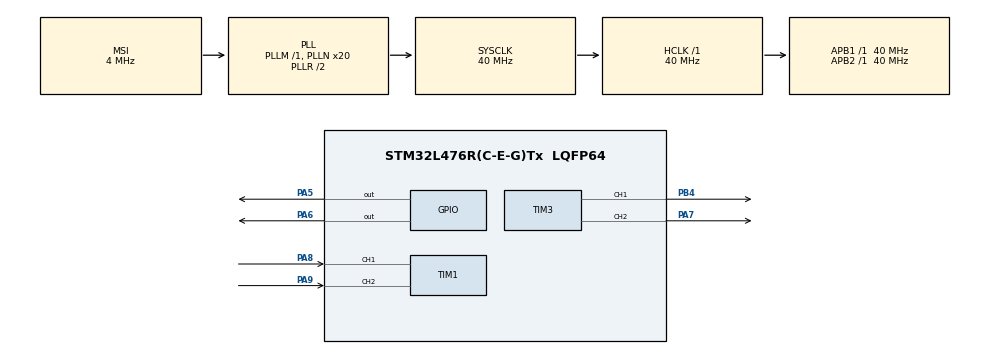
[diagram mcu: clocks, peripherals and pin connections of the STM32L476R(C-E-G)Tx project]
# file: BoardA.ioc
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FREERTOS.Tasks01=defaultTask,24,128,StartDefaultTask,Default,NULL,Dynamic,NULL,NULL
Mcu.Family=STM32L4
Mcu.Name=STM32L476R(C-E-G)Tx
Mcu.Package=LQFP64
NVIC.PriorityGroup=NVIC_PRIORITYGROUP_4
PA13\ (JTMS-SWDIO).Mode=Trace_Asynchronous_SW
PA13\ (JTMS-SWDIO).Signal=SYS_JTMS-SWDIO
PA14\ (JTCK-SWCLK).Mode=Trace_Asynchronous_SW
PA14\ (JTCK-SWCLK).Signal=SYS_JTCK-SWCLK
PA5.Signal=GPIO_Output
PA6.Signal=GPIO_Output
PA7.Signal=S_TIM3_CH2
PA8.Signal=S_TIM1_CH1
PA9.Signal=S_TIM1_CH2
PB3\ (JTDO-TRACESWO).Mode=Trace_Asynchronous_SW
PB3\ (JTDO-TRACESWO).Signal=SYS_JTDO-SWO
PB4\ (NJTRST).Signal=S_TIM3_CH1
PH0-OSC_IN\ (PH0).Mode=HSE-External-Oscillator
PH0-OSC_IN\ (PH0).Signal=RCC_OSC_IN
PH1-OSC_OUT\ (PH1).Mode=HSE-External-Oscillator
PH1-OSC_OUT\ (PH1).Signal=RCC_OSC_OUT
ProjectManager.HeapSize=0x200
ProjectManager.StackSize=0x400
ProjectManager.TargetToolchain=STM32CubeIDE
RCC.AHBFreq_Value=40000000
RCC.APB1Freq_Value=40000000
RCC.APB1TimFreq_Value=40000000
RCC.APB2Freq_Value=40000000
RCC.APB2TimFreq_Value=40000000
RCC.CortexFreq_Value=40000000
RCC.HCLKFreq_Value=40000000
RCC.HSE_VALUE=8000000
RCC.HSI_VALUE=16000000
RCC.LSE_VALUE=32768
RCC.MSI_VALUE=4000000
RCC.PLLN=20
RCC.SYSCLKFreq_VALUE=40000000
RCC.SYSCLKSource=RCC_SYSCLKSOURCE_PLLCLK
RCC.VCOOutputFreq_Value=80000000
SH.S_TIM1_CH1.0=TIM1_CH1,Encoder_Interface
SH.S_TIM1_CH2.0=TIM1_CH2,Encoder_Interface
SH.S_TIM3_CH1.0=TIM3_CH1,PWM Generation1 CH1
SH.S_TIM3_CH2.0=TIM3_CH2,PWM Generation2 CH2
TIM1.EncoderMode=TIM_ENCODERMODE_TI12
TIM3.Channel-PWM\ Generation1\ CH1=TIM_CHANNEL_1
TIM3.Channel-PWM\ Generation2\ CH2=TIM_CHANNEL_2
VP_FREERTOS_VS_CMSIS_V2.Mode=CMSIS_V2
board=custom

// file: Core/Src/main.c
/* USER CODE BEGIN Header */
/**
  ******************************************************************************
  * @file           : main.c
  * @brief          : Main program body
  ******************************************************************************
  * @attention
  *
  * Copyright (c) 2026 STMicroelectronics.
  * All rights reserved.
  *
  * This software is licensed under terms that can be found in the LICENSE file
  * in the root directory of this software component.
  * If no LICENSE file comes with this software, it is provided AS-IS.
  *
  ******************************************************************************
  */
/* USER CODE END Header */
#include "main.h"
#include "cmsis_os.h"
#include "app.h"

TIM_HandleTypeDef htim1;
TIM_HandleTypeDef htim3;

/* Definitions for defaultTask */
osThreadId_t defaultTaskHandle;
const osThreadAttr_t defaultTask_attributes = {
  .name = "defaultTask",
  .stack_size = 128 * 4,
  .priority = (osPriority_t) osPriorityNormal,
};

void SystemClock_Config(void);
static void MX_GPIO_Init(void);
static void MX_TIM1_Init(void);
static void MX_TIM3_Init(void);
void StartDefaultTask(void *argument);

/* USER CODE BEGIN PFP */
uint32_t Main_GetTickMillisec(void);
/* USER CODE END PFP */

/* USER CODE BEGIN 0 */
inline uint32_t Main_GetTickMillisec(void)
{
#ifdef __RTX
  #if defined (osCMSIS) && (osCMSIS < 0x20000U)
    extern uint32_t os_time;
    return os_time;
  #else
    extern uint32_t osKernelGetTickCount();
    return osKernelGetTickCount();
  #endif
#else
  return HAL_GetTick();
#endif
}
/* USER CODE END 0 */

int main(void)
{

  /* MCU Configuration--------------------------------------------------------*/

  /* Reset of all peripherals, Initializes the Flash interface and the Systick. */
  HAL_Init();

  /* Configure the system clock */
  SystemClock_Config();

  /* Initialize all configured peripherals */
  MX_GPIO_Init();
  MX_TIM1_Init();
  MX_TIM3_Init();

  /* Init scheduler */
  osKernelInitialize();

  /* Create the thread(s) */
  /* creation of defaultTask */
  defaultTaskHandle = osThreadNew(StartDefaultTask, NULL, &defaultTask_attributes);

  /* USER CODE BEGIN RTOS_EVENTS */
  /* add events, ... */
  app_init();
  /* USER CODE END RTOS_EVENTS */

  /* Start scheduler */
  osKernelStart();

  /* We should never get here as control is now taken by the scheduler */

  /* Infinite loop */
  while (1)
  {
    /* USER CODE BEGIN 3 */
	  app_loop();
  }

  motor_turnOff();
  /* USER CODE END 3 */
}

void SystemClock_Config(void)
{
  RCC_OscInitTypeDef RCC_OscInitStruct = {0};
  RCC_ClkInitTypeDef RCC_ClkInitStruct = {0};

  /** Configure the main internal regulator output voltage
  */
  if (HAL_PWREx_ControlVoltageScaling(PWR_REGULATOR_VOLTAGE_SCALE1) != HAL_OK)
  {
    Error_Handler();
  }

  /** Initializes the RCC Oscillators according to the specified parameters
  * in the RCC_OscInitTypeDef structure.
  */
  RCC_OscInitStruct.OscillatorType = RCC_OSCILLATORTYPE_MSI;
  RCC_OscInitStruct.MSIState = RCC_MSI_ON;
  RCC_OscInitStruct.MSICalibrationValue = 0;
  RCC_OscInitStruct.MSIClockRange = RCC_MSIRANGE_6;
  RCC_OscInitStruct.PLL.PLLState = RCC_PLL_ON;
  RCC_OscInitStruct.PLL.PLLSource = RCC_PLLSOURCE_MSI;
  RCC_OscInitStruct.PLL.PLLM = 1;
  RCC_OscInitStruct.PLL.PLLN = 20;
  RCC_OscInitStruct.PLL.PLLP = RCC_PLLP_DIV7;
  RCC_OscInitStruct.PLL.PLLQ = RCC_PLLQ_DIV2;
  RCC_OscInitStruct.PLL.PLLR = RCC_PLLR_DIV2;
  if (HAL_RCC_OscConfig(&RCC_OscInitStruct) != HAL_OK)
  {
    Error_Handler();
  }

  /** Initializes the CPU, AHB and APB buses clocks
  */
  RCC_ClkInitStruct.ClockType = RCC_CLOCKTYPE_HCLK|RCC_CLOCKTYPE_SYSCLK
                              |RCC_CLOCKTYPE_PCLK1|RCC_CLOCKTYPE_PCLK2;
  RCC_ClkInitStruct.SYSCLKSource = RCC_SYSCLKSOURCE_PLLCLK;
  RCC_ClkInitStruct.AHBCLKDivider = RCC_SYSCLK_DIV1;
  RCC_ClkInitStruct.APB1CLKDivider = RCC_HCLK_DIV1;
  RCC_ClkInitStruct.APB2CLKDivider = RCC_HCLK_DIV1;

  if (HAL_RCC_ClockConfig(&RCC_ClkInitStruct, FLASH_LATENCY_2) != HAL_OK)
  {
    Error_Handler();
  }
}

static void MX_TIM1_Init(void)
{

  TIM_Encoder_InitTypeDef sConfig = {0};
  TIM_MasterConfigTypeDef sMasterConfig = {0};

  htim1.Instance = TIM1;
  htim1.Init.Prescaler = 0;
  htim1.Init.CounterMode = TIM_COUNTERMODE_UP;
  htim1.Init.Period = 65535;
  htim1.Init.ClockDivision = TIM_CLOCKDIVISION_DIV1;
  htim1.Init.RepetitionCounter = 0;
  htim1.Init.AutoReloadPreload = TIM_AUTORELOAD_PRELOAD_DISABLE;
  sConfig.EncoderMode = TIM_ENCODERMODE_TI12;
  sConfig.IC1Polarity = TIM_ICPOLARITY_RISING;
  sConfig.IC1Selection = TIM_ICSELECTION_DIRECTTI;
  sConfig.IC1Prescaler = TIM_ICPSC_DIV1;
  sConfig.IC1Filter = 0;
  sConfig.IC2Polarity = TIM_ICPOLARITY_RISING;
  sConfig.IC2Selection = TIM_ICSELECTION_DIRECTTI;
  sConfig.IC2Prescaler = TIM_ICPSC_DIV1;
  sConfig.IC2Filter = 0;
  if (HAL_TIM_Encoder_Init(&htim1, &sConfig) != HAL_OK)
  {
    Error_Handler();
  }
  sMasterConfig.MasterOutputTrigger = TIM_TRGO_RESET;
  sMasterConfig.MasterOutputTrigger2 = TIM_TRGO2_RESET;
  sMasterConfig.MasterSlaveMode = TIM_MASTERSLAVEMODE_DISABLE;
  if (HAL_TIMEx_MasterConfigSynchronization(&htim1, &sMasterConfig) != HAL_OK)
  {
    Error_Handler();
  }

}

static void MX_TIM3_Init(void)
{

  TIM_MasterConfigTypeDef sMasterConfig = {0};
  TIM_OC_InitTypeDef sConfigOC = {0};

  htim3.Instance = TIM3;
  htim3.Init.Prescaler = 0;
  htim3.Init.CounterMode = TIM_COUNTERMODE_UP;
  htim3.Init.Period = 65535;
  htim3.Init.ClockDivision = TIM_CLOCKDIVISION_DIV1;
  htim3.Init.AutoReloadPreload = TIM_AUTORELOAD_PRELOAD_DISABLE;
  if (HAL_TIM_PWM_Init(&htim3) != HAL_OK)
  {
    Error_Handler();
  }
  sMasterConfig.MasterOutputTrigger = TIM_TRGO_RESET;
  sMasterConfig.MasterSlaveMode = TIM_MASTERSLAVEMODE_DISABLE;
  if (HAL_TIMEx_MasterConfigSynchronization(&htim3, &sMasterConfig) != HAL_OK)
  {
    Error_Handler();
  }
  sConfigOC.OCMode = TIM_OCMODE_PWM1;
  sConfigOC.Pulse = 0;
  sConfigOC.OCPolarity = TIM_OCPOLARITY_HIGH;
  sConfigOC.OCFastMode = TIM_OCFAST_DISABLE;
  if (HAL_TIM_PWM_ConfigChannel(&htim3, &sConfigOC, TIM_CHANNEL_1) != HAL_OK)
  {
    Error_Handler();
  }
  if (HAL_TIM_PWM_ConfigChannel(&htim3, &sConfigOC, TIM_CHANNEL_2) != HAL_OK)
  {
    Error_Handler();
  }
  HAL_TIM_MspPostInit(&htim3);

}

static void MX_GPIO_Init(void)
{
  GPIO_InitTypeDef GPIO_InitStruct = {0};

  /* GPIO Ports Clock Enable */
  __HAL_RCC_GPIOH_CLK_ENABLE();
  __HAL_RCC_GPIOA_CLK_ENABLE();
  __HAL_RCC_GPIOB_CLK_ENABLE();

  /*Configure GPIO pin Output Level */
  HAL_GPIO_WritePin(GPIOA, GPIO_PIN_5|GPIO_PIN_6, GPIO_PIN_RESET);

  /*Configure GPIO pins : PA5 PA6 */
  GPIO_InitStruct.Pin = GPIO_PIN_5|GPIO_PIN_6;
  GPIO_InitStruct.Mode = GPIO_MODE_OUTPUT_PP;
  GPIO_InitStruct.Pull = GPIO_NOPULL;
  GPIO_InitStruct.Speed = GPIO_SPEED_FREQ_LOW;
  HAL_GPIO_Init(GPIOA, &GPIO_InitStruct);

}

void StartDefaultTask(void *argument)
{
  for(;;)
  {
    osDelay(1);
  }
}

void Error_Handler(void)
{
  __disable_irq();
  while (1)
  {
  }
}
